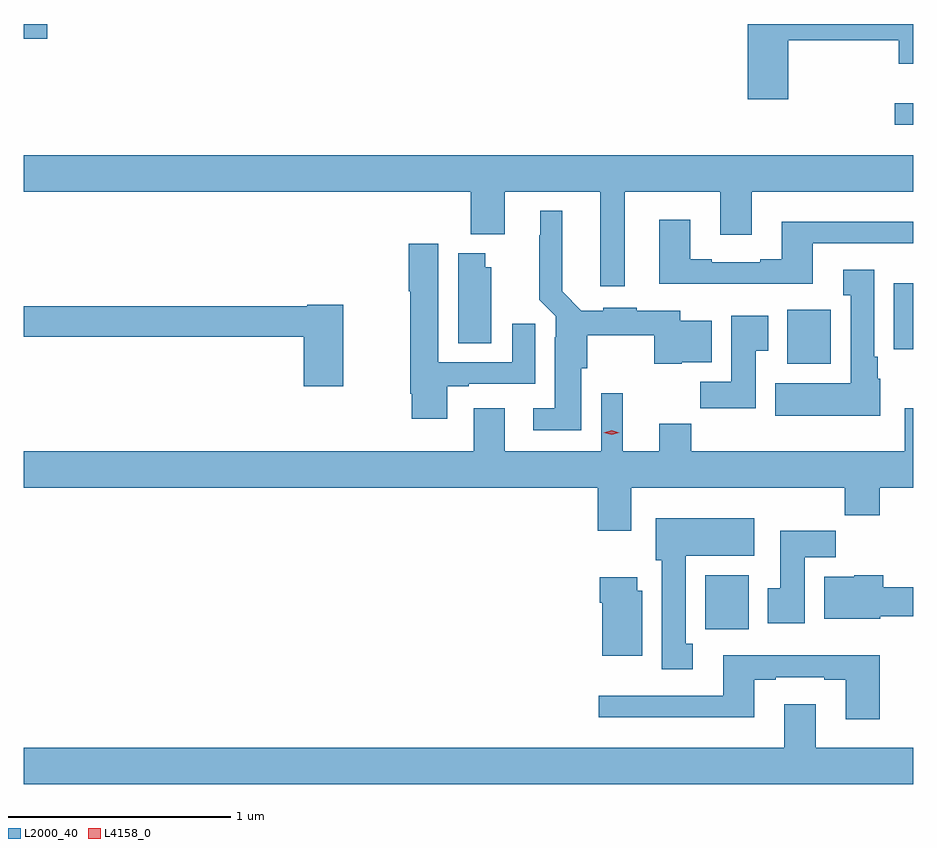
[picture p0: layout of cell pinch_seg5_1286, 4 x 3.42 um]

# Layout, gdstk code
import gdstk
lib = gdstk.Library(unit=1e-6, precision=1e-09)
def R(c, l, rs):  # rectangles x0, y0, x1, y1
    for r in rs: c.add(gdstk.rectangle(r[:2], r[2:], *l))
def P(c, l, *ps):  # polygons
    for p in ps: c.add(gdstk.Polygon(p, *l))
L2000_40 = (2000, 40)
L4158_0 = (4158, 0)

pinch_seg5_1286 = lib.new_cell('pinch_seg5_1286')
R(pinch_seg5_1286, L2000_40, [(575.84,869.444,576.037,869.686), (576.209,870.638,576.406,870.88), (576.689,870.704,576.776,871), (576.693,871.712,576.776,871.809), (572.776,872.099,572.881,872.166)])
P(pinch_seg5_1286, L2000_40, [(576.215,872.092),(576.71,872.092),(576.71,871.988),(576.776,871.988),(576.776,872.166),(576.032,872.166),(576.032,871.827),(576.215,871.827)],
  [(572.776,871.412),(574.787,871.412),(574.787,871.22),(574.939,871.22),(574.939,871.412),(575.369,871.412),(575.369,870.987),(575.479,870.987),(575.479,871.412),(575.909,871.412),(575.909,871.218),(576.049,871.218),(576.049,871.412),(576.776,871.412),(576.776,871.576),(572.776,871.576)],
  [(575.284,870.618),(575.31,870.618),(575.31,870.767),(575.611,870.767),(575.611,870.638),(575.736,870.638),(575.736,870.644),(575.869,870.644),(575.869,870.832),(575.728,870.832),(575.728,870.877),(575.532,870.877),(575.532,870.889),(575.382,870.889),(575.382,870.877),(575.283,870.877),(575.197,870.964),(575.197,871.327),(575.099,871.327),(575.099,871.217),(575.095,871.217),(575.095,870.926),(575.169,870.852),(575.169,870.758),(575.165,870.758),(575.165,870.439),(575.067,870.439),(575.067,870.338),(575.284,870.338)],
  [(576.325,871.179),(576.776,871.179),(576.776,871.276),(576.185,871.276),(576.185,871.108),(576.089,871.108),(576.089,871.095),(575.869,871.095),(575.869,871.108),(575.773,871.108),(575.773,871.285),(575.633,871.285),(575.633,870.998),(576.325,870.998)],
  [(574.681,870.537),(574.777,870.537),(574.777,870.549),(575.077,870.549),(575.077,870.817),(574.973,870.817),(574.973,870.645),(574.639,870.645),(574.639,871.177),(574.508,871.177),(574.508,870.964),(574.513,870.964),(574.513,870.502),(574.52,870.502),(574.52,870.39),(574.681,870.39)],
  [(574.879,871.071),(574.852,871.071),(574.852,871.135),(574.73,871.135),(574.73,870.73),(574.879,870.73)],
  [(576.628,870.57),(576.616,870.57),(576.616,870.67),(576.601,870.67),(576.601,871.06),(576.461,871.06),(576.461,870.947),(576.494,870.947),(576.494,870.55),(576.155,870.55),(576.155,870.404),(576.628,870.404)],
  [(574.212,870.904),(574.05,870.904),(574.05,870.896),(572.776,870.896),(572.776,870.76),(574.034,870.76),(574.034,870.537),(574.212,870.537)],
  [(576.067,870.697),(576.124,870.697),(576.124,870.853),(575.957,870.853),(575.957,870.556),(575.818,870.556),(575.818,870.438),(576.067,870.438)],
  [(575.509,870.08),(576.469,870.08),(576.469,869.956),(576.626,869.956),(576.626,870.08),(576.776,870.08),(576.776,870.439),(576.737,870.439),(576.737,870.244),(575.777,870.244),(575.777,870.368),(575.633,870.368),(575.633,870.244),(575.47,870.244),(575.47,870.505),(575.373,870.505),(575.373,870.244),(574.939,870.244),(574.939,870.439),(574.799,870.439),(574.799,870.244),(572.776,870.244),(572.776,870.08),(575.357,870.08),(575.357,869.886),(575.509,869.886)],
  [(575.785,869.378),(575.752,869.378),(575.752,869.774),(576.061,869.774),(576.061,869.944),(575.618,869.944),(575.618,869.754),(575.645,869.754),(575.645,869.265),(575.785,869.265)],
  [(576.289,869.768),(576.428,869.768),(576.428,869.886),(576.179,869.886),(576.179,869.628),(576.122,869.628),(576.122,869.472),(576.289,869.472)],
  [(576.628,869.503),(576.776,869.503),(576.776,869.632),(576.641,869.632),(576.641,869.686),(576.51,869.686),(576.51,869.68),(576.377,869.68),(576.377,869.492),(576.628,869.492)],
  [(575.557,869.616),(575.536,869.616),(575.536,869.677),(575.366,869.677),(575.366,869.564),(575.378,869.564),(575.378,869.324),(575.557,869.324)],
  [(576.626,869.326),(575.921,869.326),(575.921,869.145),(575.361,869.145),(575.361,869.048),(576.061,869.048),(576.061,869.217),(576.157,869.217),(576.157,869.229),(576.377,869.229),(576.377,869.217),(576.473,869.217),(576.473,869.04),(576.626,869.04)],
  [(576.776,868.912),(576.337,868.912),(576.337,869.107),(576.197,869.107),(576.197,868.912),(572.776,868.912),(572.776,868.748),(576.776,868.748)])
P(pinch_seg5_1286, L4158_0, [(575.42,870.318),(575.385,870.328),(575.385,870.328),(575.385,870.328),(575.42,870.338),(575.455,870.328),(575.455,870.328),(575.455,870.328)])

lib.write_gds('pinch_seg5_1286.gds')
